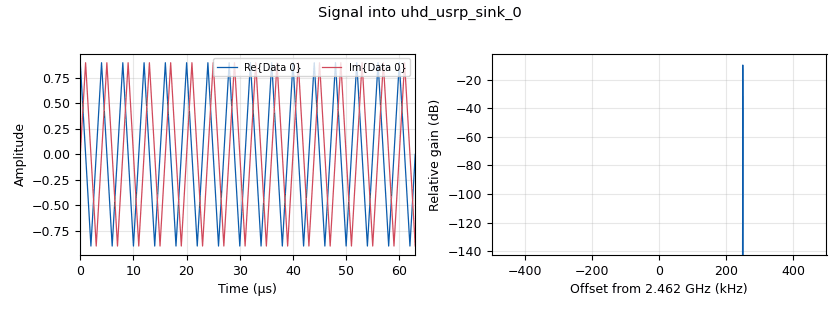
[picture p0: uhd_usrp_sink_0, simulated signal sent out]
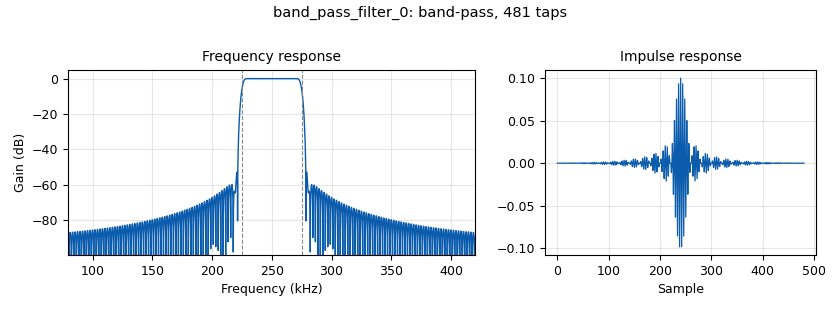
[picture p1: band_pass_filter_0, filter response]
options:
  parameters:
    author: miguel
    generate_options: qt_gui
    id: rfnoc_ddc_test
    output_language: python
    title: DDC Test with RFNOC
  states: {}

blocks:
- name: center_frequency
  id: variable
  parameters:
    value: 2.462e9
  states: {}
- name: rx_gain
  id: variable_qtgui_range
  parameters:
    label: Receiver Gain
    start: '0'
    step: '1'
    stop: '50'
    value: '20'
  states: {}
- name: samp_rate
  id: variable
  parameters:
    value: 1e6
  states: {}
- name: sel
  id: variable_qtgui_chooser
  parameters:
    label: Bypass
    label0: Filter
    label1: Bypass
    num_opts: '2'
    option0: '0'
    option1: '1'
    type: int
    value: '1'
  states: {}
- name: sig_freq
  id: variable_qtgui_range
  parameters:
    label: Signal Frequency
    start: 250e3
    step: 50e3
    stop: 750e3
    value: 250e3
  states: {}
- name: tx_gain
  id: variable_qtgui_range
  parameters:
    label: Transmitter Gain
    start: '10'
    step: '1'
    stop: '50'
    value: '30'
  states: {}
- name: usrp_x300
  id: uhd_rfnoc_graph
  parameters:
    dev_addr: '"addr=192.168.10.2"'
    dev_args: '""'
  states: {}
- name: analog_sig_source_x_0
  id: analog_sig_source_x
  parameters:
    amp: '0.9'
    freq: sig_freq
    offset: '0'
    phase: '0'
    samp_rate: samp_rate
    type: complex
    waveform: analog.GR_COS_WAVE
  states: {}
- name: band_pass_filter_0
  id: band_pass_filter
  parameters:
    decim: '1'
    gain: '1'
    high_cutoff_freq: sig_freq+25e3
    low_cutoff_freq: sig_freq-25e3
    samp_rate: samp_rate
    type: fir_filter_ccf
    width: 5e3
    win: window.WIN_HAMMING
  states: {}
- name: blocks_selector_0
  id: blocks_selector
  parameters:
    enabled: 'True'
    input_index: sel
    num_inputs: '2'
    num_outputs: '1'
    output_index: '0'
    type: complex
  states: {}
- name: qtgui_sink_x_0
  id: qtgui_sink_x
  parameters:
    bw: samp_rate
    fc: center_frequency
    fftsize: '1024'
    showrf: 'True'
    type: complex
  states: {}
- name: uhd_rfnoc_ddc_0
  id: uhd_rfnoc_ddc
  parameters:
    freq0: '0'
    output_rate0: samp_rate
  states: {}
- name: uhd_rfnoc_rx_radio_0
  id: uhd_rfnoc_rx_radio
  parameters:
    antenna0: RX2
    bandwidth0: '0'
    block_args: '""'
    dc_offset0: 'True'
    frequency0: center_frequency
    gain0: rx_gain
    iq_balance0: 'True'
    rate: '0'
  states: {}
- name: uhd_rfnoc_rx_streamer_0
  id: uhd_rfnoc_rx_streamer
  parameters:
    args: '""'
    otw: sc16
    output_type: fc32
  states: {}
- name: uhd_usrp_sink_0
  id: uhd_usrp_sink
  parameters:
    ant0: '"TX/RX"'
    center_freq0: center_frequency
    dev_addr: '"serial=318C694"'
    dev_args: '""'
    gain0: tx_gain
    samp_rate: samp_rate
    sync: none
    type: fc32
  states: {}

connections:
- [analog_sig_source_x_0, '0', uhd_usrp_sink_0, '0']
- [band_pass_filter_0, '0', blocks_selector_0, '0']
- [blocks_selector_0, '0', qtgui_sink_x_0, '0']
- [uhd_rfnoc_ddc_0, '0', uhd_rfnoc_rx_streamer_0, '0']
- [uhd_rfnoc_rx_radio_0, '0', uhd_rfnoc_ddc_0, '0']
- [uhd_rfnoc_rx_streamer_0, '0', band_pass_filter_0, '0']
- [uhd_rfnoc_rx_streamer_0, '0', blocks_selector_0, '1']

metadata:
  file_format: 1
  grc_version: 3.10.7.0
